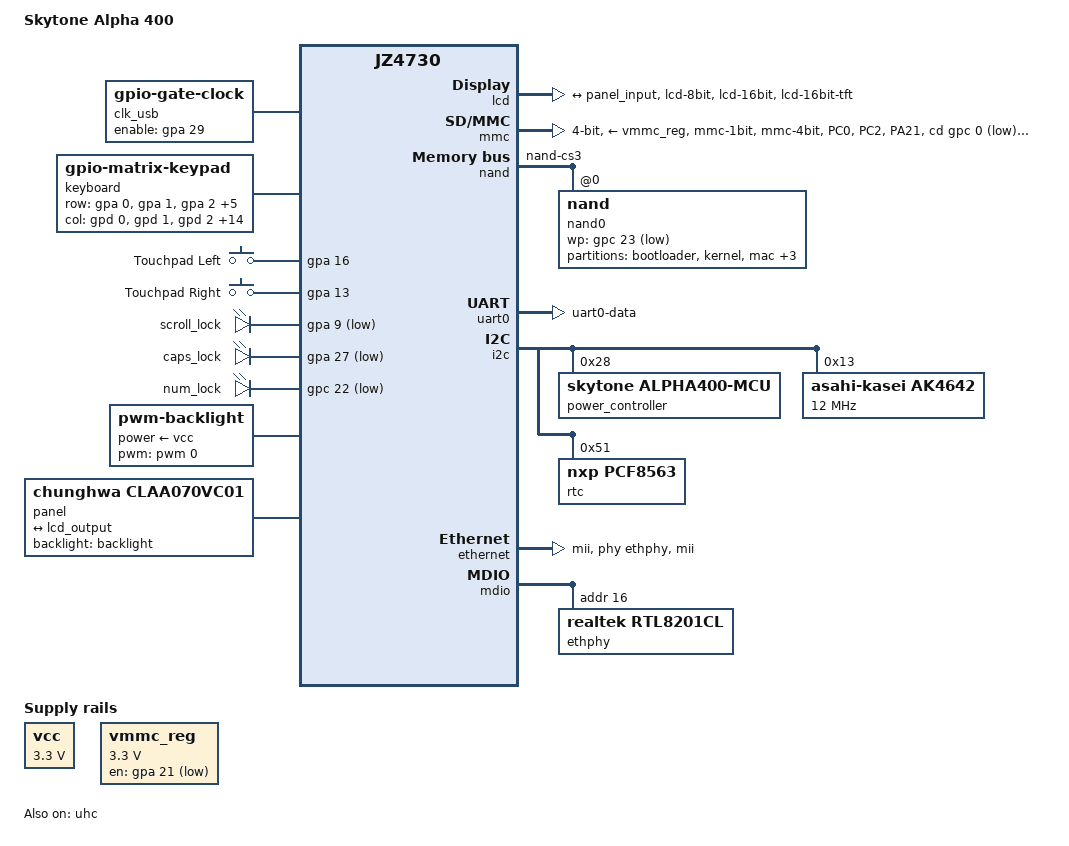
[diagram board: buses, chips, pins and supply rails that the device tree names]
/dts-v1/;

#include "jz4730.dtsi"
#include <dt-bindings/clock/ingenic,tcu.h>
#include <dt-bindings/input/input.h>
#include <dt-bindings/gpio/gpio.h>

/ {
	compatible = "skytone,alpha400", "ingenic,jz4730";
	model = "Skytone Alpha 400";

	aliases {
		serial0 = &uart0;
	};

	chosen {
		stdout-path = "serial0:115200n8";
	};

	wdt-reboot {
		compatible = "wdt-reboot";
		wdt = <&watchdog>;
	};

	vcc: regulator@0 {
		compatible = "regulator-fixed";
		regulator-name = "vcc";

		regulator-min-microvolt = <3300000>;
		regulator-max-microvolt = <3300000>;
		regulator-always-on;
	};

	vmmc_reg: regulator@1 {
		compatible = "regulator-fixed";
		regulator-name = "vmmc";

		regulator-min-microvolt = <3300000>;
		regulator-max-microvolt = <3300000>;
		gpio = <&gpa 21 GPIO_ACTIVE_LOW>;
	};

	clk_usb: clk-usb {
		compatible = "gpio-gate-clock";
		clocks = <&cgu JZ4730_CLK_UHC>;
		#clock-cells = <0>;
		enable-gpios = <&gpa 29 GPIO_ACTIVE_HIGH>;
	};

	keyboard {
		compatible = "gpio-matrix-keypad";

		col-scan-delay-us = <10>;
		debounce-delay-ms = <10>;
		wakeup-source;

		row-gpios = <&gpa 0 0 &gpa 1 0 &gpa 2 0 &gpa 3 0
			     &gpa 4 0 &gpa 5 0 &gpa 6 0 &gpa 7 0>;

		col-gpios = <&gpd 0 0 &gpd 1 0 &gpd 2 0 &gpd 3 0
			     &gpd 4 0 &gpd 5 0 &gpd 6 0 &gpd 7 0
			     &gpd 8 0 &gpd 9 0 &gpd 10 0 &gpd 11 0
			     &gpd 12 0 &gpd 13 0 &gpd 14 0 &gpd 15 0
			     &gpd 29 0>;
		gpio-activelow;

		/* Keymap column-by-column, based on...

		https://web.archive.org/web/20120214204001/http://projects.kwaak.net/twiki/bin/view/Epc700/KeyBoard

		...and subsequently verified. */

		linux,keymap = <
			MATRIX_KEY(0, 0, KEY_PAUSE)
			MATRIX_KEY(1, 0, 0)
			MATRIX_KEY(2, 0, 0)
			MATRIX_KEY(3, 0, 0)
			MATRIX_KEY(4, 0, 0)
			MATRIX_KEY(5, 0, 0)
			MATRIX_KEY(6, 0, KEY_LEFTCTRL)
			MATRIX_KEY(7, 0, KEY_F5)

			MATRIX_KEY(0, 1, KEY_Q)
			MATRIX_KEY(1, 1, KEY_TAB)
			MATRIX_KEY(2, 1, KEY_A)
			MATRIX_KEY(3, 1, KEY_ESC)
			MATRIX_KEY(4, 1, KEY_Z)
			MATRIX_KEY(5, 1, 0)
			MATRIX_KEY(6, 1, KEY_GRAVE)
			MATRIX_KEY(7, 1, KEY_1)

			MATRIX_KEY(0, 2, KEY_W)
			MATRIX_KEY(1, 2, KEY_CAPSLOCK)
			MATRIX_KEY(2, 2, KEY_S)
			MATRIX_KEY(3, 2, KEY_102ND)
			MATRIX_KEY(4, 2, KEY_X)
			MATRIX_KEY(5, 2, 0)
			MATRIX_KEY(6, 2, 0)
			MATRIX_KEY(7, 2, KEY_2)

			MATRIX_KEY(0, 3, KEY_E)
			MATRIX_KEY(1, 3, KEY_F3)
			MATRIX_KEY(2, 3, KEY_D)
			MATRIX_KEY(3, 3, KEY_F4)
			MATRIX_KEY(4, 3, KEY_C)
			MATRIX_KEY(5, 3, 0)
			MATRIX_KEY(6, 3, 0)
			MATRIX_KEY(7, 3, KEY_3)

			MATRIX_KEY(0, 4, KEY_R)
			MATRIX_KEY(1, 4, KEY_T)
			MATRIX_KEY(2, 4, KEY_F)
			MATRIX_KEY(3, 4, KEY_G)
			MATRIX_KEY(4, 4, KEY_V)
			MATRIX_KEY(5, 4, KEY_B)
			MATRIX_KEY(6, 4, KEY_5)
			MATRIX_KEY(7, 4, KEY_4)

			MATRIX_KEY(0, 5, KEY_U)
			MATRIX_KEY(1, 5, KEY_Y)
			MATRIX_KEY(2, 5, KEY_J)
			MATRIX_KEY(3, 5, KEY_H)
			MATRIX_KEY(4, 5, KEY_M)
			MATRIX_KEY(5, 5, KEY_N)
			MATRIX_KEY(6, 5, KEY_6)
			MATRIX_KEY(7, 5, KEY_7)

			MATRIX_KEY(0, 6, KEY_I)
			MATRIX_KEY(1, 6, KEY_RIGHTBRACE)
			MATRIX_KEY(2, 6, KEY_K)
			MATRIX_KEY(3, 6, KEY_F6)
			MATRIX_KEY(4, 6, KEY_COMMA)
			MATRIX_KEY(5, 6, 0)
			MATRIX_KEY(6, 6, KEY_EQUAL)
			MATRIX_KEY(7, 6, KEY_8)

			MATRIX_KEY(0, 7, KEY_O)
			MATRIX_KEY(1, 7, KEY_F7)
			MATRIX_KEY(2, 7, KEY_L)
			MATRIX_KEY(3, 7, 0)
			MATRIX_KEY(4, 7, KEY_DOT)
			MATRIX_KEY(5, 7, KEY_F19)
			MATRIX_KEY(6, 7, KEY_F8)
			MATRIX_KEY(7, 7, KEY_9)

			MATRIX_KEY(0, 8, 0)
			MATRIX_KEY(1, 8, 0)
			MATRIX_KEY(2, 8, 0)
			MATRIX_KEY(3, 8, KEY_SPACE)
			MATRIX_KEY(4, 8, KEY_NUMLOCK)
			MATRIX_KEY(5, 8, 0)
			MATRIX_KEY(6, 8, KEY_DELETE)
			MATRIX_KEY(7, 8, 0)

			MATRIX_KEY(0, 9, 0)
			MATRIX_KEY(1, 9, KEY_BACKSPACE)
			MATRIX_KEY(2, 9, 0)
			MATRIX_KEY(3, 9, 0)
			MATRIX_KEY(4, 9, KEY_ENTER)
			MATRIX_KEY(5, 9, 0)
			MATRIX_KEY(6, 9, KEY_F9)
			MATRIX_KEY(7, 9, 0)

			MATRIX_KEY(0, 10, 0)
			MATRIX_KEY(1, 10, 0)
			MATRIX_KEY(2, 10, 0)
			MATRIX_KEY(3, 10, KEY_LEFTALT)
			MATRIX_KEY(4, 10, 0)
			MATRIX_KEY(5, 10, 0)
			MATRIX_KEY(6, 10, 0)
			MATRIX_KEY(7, 10, KEY_SYSRQ)

			MATRIX_KEY(0, 11, KEY_P)
			MATRIX_KEY(1, 11, KEY_LEFTBRACE)
			MATRIX_KEY(2, 11, KEY_SEMICOLON)
			MATRIX_KEY(3, 11, KEY_APOSTROPHE)
			MATRIX_KEY(4, 11, KEY_BACKSLASH)
			MATRIX_KEY(5, 11, KEY_SLASH)
			MATRIX_KEY(6, 11, KEY_MINUS)
			MATRIX_KEY(7, 11, KEY_0)

			MATRIX_KEY(0, 12, 0)
			MATRIX_KEY(1, 12, KEY_DISPLAY_OFF)
			MATRIX_KEY(2, 12, 0)
			MATRIX_KEY(3, 12, 0)
			MATRIX_KEY(4, 12, 0)
			MATRIX_KEY(5, 12, 0)
			MATRIX_KEY(6, 12, 0)
			MATRIX_KEY(7, 12, KEY_F10)

			MATRIX_KEY(0, 13, 0)
			MATRIX_KEY(1, 13, 0)
			MATRIX_KEY(2, 13, 0)
			MATRIX_KEY(3, 13, 0)
			MATRIX_KEY(4, 13, 0)
			MATRIX_KEY(5, 13, 0)
			MATRIX_KEY(6, 13, KEY_F2)
			MATRIX_KEY(7, 13, 0)

			MATRIX_KEY(0, 14, 0)
			MATRIX_KEY(1, 14, 0)
			MATRIX_KEY(2, 14, 0)
			MATRIX_KEY(3, 14, 0)
			MATRIX_KEY(4, 14, 0)
			MATRIX_KEY(5, 14, 0)
			MATRIX_KEY(6, 14, KEY_INSERT)
			MATRIX_KEY(7, 14, 0)

			MATRIX_KEY(0, 15, 0)
			MATRIX_KEY(1, 15, 0)
			MATRIX_KEY(2, 15, KEY_UP)
			MATRIX_KEY(3, 15, KEY_DOWN)
			MATRIX_KEY(4, 15, KEY_LEFT)
			MATRIX_KEY(5, 15, KEY_RIGHT)
			MATRIX_KEY(6, 15, 0)
			MATRIX_KEY(7, 15, 0)

			MATRIX_KEY(0, 16, 0)
			MATRIX_KEY(1, 16, KEY_LEFTSHIFT)
			MATRIX_KEY(2, 16, KEY_RIGHTSHIFT)
			MATRIX_KEY(3, 16, 0)
			MATRIX_KEY(4, 16, 0)
			MATRIX_KEY(5, 16, 0)
			MATRIX_KEY(6, 16, KEY_F1)
			MATRIX_KEY(7, 16, KEY_FN)
			>;
	};

	buttons {
		compatible = "gpio-keys";

		#address-cells = <7>;
		#size-cells = <0>;

		left_touchpad {
			label = "Touchpad Left";
			wakeup-source;
			linux,code = <0x110>;	/* BTN_LEFT */
			gpios = <&gpa 16 GPIO_ACTIVE_HIGH>;
		};

		right_touchpad {
			label = "Touchpad Right";
			wakeup-source;
			linux,code = <0x111>;	/* BTN_RIGHT */
			gpios = <&gpa 13 GPIO_ACTIVE_HIGH>;
		};
	};

	leds {
		compatible = "gpio-leds";

		scroll_lock {
			label = "scroll_lock";
			gpios = <&gpa 9 GPIO_ACTIVE_LOW>;
//			linux,default-trigger = "kbd-scrolllock";
			linux,default-trigger = "heartbeat";
			default-state = "off";
		};

		caps_lock {
			label = "caps_lock";
			gpios = <&gpa 27 GPIO_ACTIVE_LOW>;
//			linux,default-trigger = "kbd-capslock";
			linux,default-trigger = "cpu";
			default-state = "off";
		};

		num_lock {
			label = "num_lock";
			gpios = <&gpc 22 GPIO_ACTIVE_LOW>;
//			linux,default-trigger = "kbd-numlock";
			linux,default-trigger = "mmc0";
			default-state = "off";
		};
	};

	sound: sound {
		compatible = "simple-audio-card";

		simple-audio-card,name = "Alpha 400";
		simple-audio-card,format = "i2s";

		simple-audio-card,bitclock-master = <&sndcodec>;
		simple-audio-card,frame-master = <&sndcodec>;

		simple-audio-card,convert-rate = <48000>;

		simple-audio-card,prefix = "ak4642";
		simple-audio-card,widgets =
			"Speaker", "Speaker",
			"Microphone", "Mic";

		sndcpu: simple-audio-card,cpu {
			sound-dai = <&i2s>;
		};

		sndcodec: simple-audio-card,codec {
			sound-dai = <&ak4642>;
			system-clock-frequency = <11289600>;
		};
	};

	backlight: backlight {
		compatible = "pwm-backlight";

		pwms = <&pwm 0 3906250>;
		power-supply = <&vcc>;

		brightness-levels = <150 200 250 300>;
		default-brightness-level = <2>;

		pinctrl-names = "default";
		pinctrl-0 = <&pins_pwm0>;
	};

	panel: claa070vc01 {
		compatible = "chunghwa,claa070vc01", "panel-dpi";

		bpc = <8>;
		bus-format = <0x1017>;	/* MEDIA_BUS_FMT_RGB565_1X16 */
		connector-type = <17>;	/* DRM_MODE_CONNECTOR_DPI */

		width-mm = <150>;
		height-mm = <90>;

		backlight = <&backlight>;

		panel-timing {
			clock-frequency = <26400000>;
			hactive = <800>;
			vactive = <480>;
			hfront-porch = <0>;
			hback-porch = <0>;
			hsync-len = <80>;
			vfront-porch = <0>;
			vback-porch = <0>;
			vsync-len = <20>;
			hsync-active = <0>;
			vsync-active = <0>;
			de-active = <1>;
			pixelclk-active = <1>;
		};

		port {
			panel_input: endpoint {
				remote-endpoint = <&lcd_output>;
			};
		};
	};
};

&tcu {
	assigned-clocks = <&tcu TCU_CLK_TIMER0>, <&tcu TCU_CLK_TIMER1>, <&tcu TCU_CLK_TIMER2>;
	assigned-clock-parents = <&cgu JZ4730_CLK_EXT>, <&cgu JZ4730_CLK_EXT>, <&cgu JZ4730_CLK_EXT>;
};

&ext {
	clock-frequency = <3686400>;
};

&rtc_dev {
	system-power-controller;
	/* we have the pcf8563 on i2c */
	status = "disabled";
};

&lcd {
	pinctrl-names = "default", "sleep";
	pinctrl-0 = <&pins_lcd>;

	port {
		lcd_output: endpoint {
			remote-endpoint = <&panel_input>;
		};
	};
};

&mmc {
	status = "okay";

	bus-width = <4>;
	cd-gpios = <&gpc 0 GPIO_ACTIVE_LOW>;
	wp-gpios = <&gpc 2 GPIO_ACTIVE_HIGH>;
	vmmc-supply = <&vmmc_reg>;
	vqmmc-supply = <&vmmc_reg>;

	pinctrl-names = "default";
	pinctrl-0 = <&pins_mmc>;
};

&nand {
	pinctrl-names = "default";
	pinctrl-0 = <&pins_nand>;

	nand0: nand@0 {
		#address-cells = <0>;
		#size-cells = <0>;
		reg = <0>;
		wp-gpios = <&gpc 23 GPIO_ACTIVE_LOW>;

		partitions {
			#address-cells = <1>;
			#size-cells = <1>;
			compatible = "fixed-partitions";

			bootloader@0 {
				label = "bootloader";
				reg = <0x00000000 0x00100000>;
			};

			kernel@100000 {
				label = "kernel";
				reg = <0x00100000 0x00300000>;
			};

			mac@400000 {
				label = "mac";
				reg = <0x00400000 0x00100000>;
			};

			recovery@500000 {
				label = "mini rootfs";
				reg = <0x00500000 0x00500000>;
			};

			root@a00000 {
				label = "yaffs2 rootfs";
				reg = <0x00a00000 0x3f600000>;
			};

			extend@40000000 {
				label = "extend 1G flash";
				reg = <0x40000000 0x40000000>;
			};
		};
	};
};


&uart0 {
	pinctrl-names = "default";
	pinctrl-0 = <&pins_uart0>;
};

&pinctrl {
	pins_lcd: lcd0 {
		function = "lcd";
		groups = "lcd-8bit", "lcd-16bit", "lcd-16bit-tft";
	};

	pins_mmc: mmc {
		mmc {
			function = "mmc";
			groups = "mmc-1bit", "mmc-4bit";
		};

		mmc_ctrl {
			pins = "PC0", "PC2", "PA21";
			bias-disable;
		};
	};

	pins_nand: pins_nand {
		function = "nand";
		groups = "nand-cs3";
	};

	pins_pwm0: pwm0 {
		function = "pwm0";
		groups = "pwm0";
	};

	pins_pwm1: pwm1 {
		function = "pwm1";
		groups = "pwm1";
	};

	pins_uart0: uart0 {
		function = "uart0";
		groups = "uart0-data";
		bias-disable;
	};

	pins_usb_clk: usb {
		pins = "PA29";
		bias-disable;
	};

	pins_mac: pins_mac {
		function = "mii";
		groups = "mii";
	};

	pins_i2s: pins_i2s {
		function = "i2s";
		groups = "i2s-data", "i2s-master";
	};
};

&i2c {
	power_controller@28 {
		compatible = "skytone,alpha400-mcu";
		reg = <0x28>;
	};

	ak4642: codec@13 {
		pinctrl-names = "default";
		pinctrl-0 = <&pins_i2s>;
		compatible = "asahi-kasei,ak4642";
		reg = <0x13>;
		#clock-cells = <0>;
		clock-frequency = <12000000>;
		clock-output-names = "ak4643_mcko";
		#sound-dai-cells = <0>;
	};

	rtc@51 {
		compatible = "nxp,pcf8563";
		reg = <0x51>;
		#clock-cells = <0>;
	};
};

&uhc {
	status = "okay";

	clocks = <&clk_usb>;

	pinctrl-names = "default";
	pinctrl-0 = <&pins_usb_clk>;
};

&ethernet {
	phy-handle = <&ethphy>;
	phy-mode = "mii";

	pinctrl-names = "default";
	pinctrl-0 = <&pins_mac>;
};

&mdio {
	ethphy: ethernet-phy@16 {
		device_type = "ethernet-phy";
		compatible = "realtek,rtl8201cl", "ethernet-phy-ieee802.3-c22";
		reg = <16>;
	};
};
